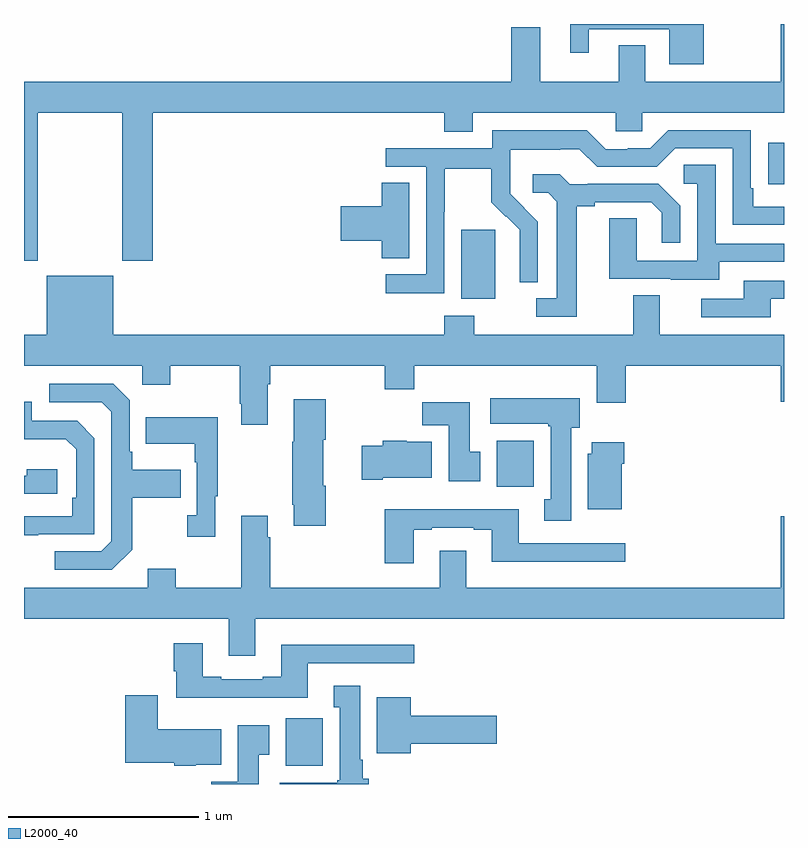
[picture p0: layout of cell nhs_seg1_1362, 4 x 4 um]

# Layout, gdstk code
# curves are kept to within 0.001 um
import gdstk
lib = gdstk.Library(unit=1e-6, precision=1e-09)
def R(c, l, rs):  # rectangles x0, y0, x1, y1
    for r in rs: c.add(gdstk.rectangle(r[:2], r[2:], *l))
def P(c, l, *ps):  # polygons
    for p in ps: c.add(gdstk.Polygon(p, *l))
L2000_40 = (2000, 40)

nhs_seg1_1362 = lib.new_cell('nhs_seg1_1362')
R(nhs_seg1_1362, L2000_40, [(186.377,548.294,186.573,548.545), (187.487,549.764,187.684,550.006), (187.301,550.754,187.48,551.115), (188.917,551.356,189,551.575)])
P(nhs_seg1_1362, L2000_40, [(185.073,551.732),(185.518,551.732),(185.518,550.953),(185.678,550.953),(185.678,551.732),(187.211,551.732),(187.211,551.633),(187.363,551.633),(187.363,551.732),(188.115,551.732),(188.115,551.634),(188.253,551.634),(188.253,551.732),(189,551.732),(189,552.199),(188.984,552.199),(188.984,551.896),(188.269,551.896),(188.269,552.086),(188.129,552.086),(188.129,551.896),(187.717,551.896),(187.717,552.181),(187.565,552.181),(187.565,551.896),(185,551.896),(185,550.953),(185.073,550.953)],
  [(188.578,552.199),(187.874,552.199),(187.874,552.048),(187.972,552.048),(187.972,552.171),(188.396,552.171),(188.396,551.987),(188.578,551.987)],
  [(187.212,551.212),(187.215,551.212),(187.215,551.436),(187.459,551.436),(187.459,551.261),(187.536,551.184),(187.539,551.187),(187.61,551.117),(187.61,550.994),(187.608,550.994),(187.608,550.84),(187.704,550.84),(187.704,551.158),(187.558,551.306),(187.558,551.403),(187.56,551.403),(187.56,551.537),(187.823,551.537),(187.823,551.541),(187.923,551.541),(188.016,551.448),(188.331,551.448),(188.427,551.544),(188.73,551.544),(188.73,551.142),(189,551.142),(189,551.238),(188.839,551.238),(188.839,551.335),(188.826,551.335),(188.826,551.64),(188.391,551.64),(188.295,551.544),(188.177,551.544),(188.177,551.541),(188.061,551.541),(187.961,551.641),(187.464,551.641),(187.464,551.544),(186.903,551.544),(186.903,551.448),(187.116,551.448),(187.116,550.881),(186.903,550.881),(186.903,550.783),(187.212,550.783)],
  [(188.659,550.947),(189,550.947),(189,551.043),(188.64,551.043),(188.64,551.459),(188.472,551.459),(188.472,551.358),(188.544,551.358),(188.544,550.953),(188.226,550.953),(188.226,551.177),(188.081,551.177),(188.081,550.857),(188.405,550.857),(188.405,550.853),(188.659,550.853)],
  [(187.909,551.24),(188.005,551.24),(188.005,551.262),(188.3,551.262),(188.357,551.205),(188.357,551.049),(188.454,551.049),(188.454,551.242),(188.338,551.358),(187.966,551.358),(187.966,551.355),(187.872,551.355),(187.82,551.407),(187.677,551.407),(187.677,551.31),(187.758,551.31),(187.805,551.263),(187.805,550.755),(187.695,550.755),(187.695,550.659),(187.909,550.659)],
  [(187.027,551.363),(186.884,551.363),(186.884,551.24),(186.666,551.24),(186.666,551.057),(186.884,551.057),(186.884,550.966),(187.027,550.966)],
  [(187.371,550.663),(187.211,550.663),(187.211,550.564),(185.47,550.564),(185.47,550.873),(185.12,550.873),(185.12,550.564),(185,550.564),(185,550.4),(185.622,550.4),(185.622,550.301),(185.769,550.301),(185.769,550.4),(186.136,550.4),(186.136,550.201),(186.143,550.201),(186.143,550.089),(186.283,550.089),(186.283,550.304),(186.296,550.304),(186.296,550.4),(186.899,550.4),(186.899,550.276),(187.055,550.276),(187.055,550.4),(188.015,550.4),(188.015,550.206),(188.168,550.206),(188.168,550.4),(188.984,550.4),(188.984,550.212),(189,550.212),(189,550.564),(188.347,550.564),(188.347,550.772),(188.207,550.772),(188.207,550.564),(187.371,550.564)],
  [(188.929,550.752),(189,550.752),(189,550.848),(188.789,550.848),(188.789,550.752),(188.565,550.752),(188.565,550.656),(188.929,550.656)],
  [(185.569,549.433),(185.569,549.706),(185.825,549.706),(185.825,549.853),(185.569,549.853),(185.569,549.949),(185.556,549.949),(185.556,550.218),(185.469,550.305),(185.133,550.305),(185.133,550.209),(185.409,550.209),(185.46,550.158),(185.46,549.477),(185.406,549.423),(185.163,549.423),(185.163,549.327),(185.463,549.327)],
  [(187.879,550.074),(187.924,550.074),(187.924,550.228),(187.455,550.228),(187.455,550.094),(187.759,550.094),(187.759,550.081),(187.772,550.081),(187.772,549.698),(187.739,549.698),(187.739,549.585),(187.879,549.585)],
  [(186.587,549.77),(186.574,549.77),(186.574,550.012),(186.587,550.012),(186.587,550.225),(186.419,550.225),(186.419,550.001),(186.412,550.001),(186.412,549.67),(186.419,549.67),(186.419,549.558),(186.587,549.558)],
  [(185.075,549.513),(185.37,549.513),(185.37,550.02),(185.28,550.11),(185.04,550.11),(185.04,550.212),(185,550.212),(185,550.013),(185.221,550.013),(185.274,549.96),(185.274,549.706),(185.254,549.706),(185.254,549.609),(185,549.609),(185,549.508),(185.075,549.508)],
  [(187.402,549.948),(187.345,549.948),(187.345,550.207),(187.096,550.207),(187.096,550.088),(187.235,550.088),(187.235,549.792),(187.402,549.792)],
  [(186.007,549.713),(186.019,549.713),(186.019,550.129),(185.641,550.129),(185.641,549.989),(185.898,549.989),(185.898,549.893),(185.91,549.893),(185.91,549.614),(185.859,549.614),(185.859,549.501),(186.007,549.501)],
  [(186.889,549.812),(187.147,549.812),(187.147,550),(187.014,550),(187.014,550.006),(186.889,550.006),(186.889,549.978),(186.777,549.978),(186.777,549.8),(186.889,549.8)],
  [(188.146,549.884),(188.159,549.884),(188.159,549.997),(187.988,549.997),(187.988,549.936),(187.967,549.936),(187.967,549.644),(188.146,549.644)],
  [(185.176,549.856),(185.015,549.856),(185.015,549.822),(185,549.822),(185,549.726),(185.176,549.726)],
  [(187.051,549.537),(187.147,549.537),(187.147,549.549),(187.367,549.549),(187.367,549.537),(187.463,549.537),(187.463,549.368),(188.164,549.368),(188.164,549.465),(187.603,549.465),(187.603,549.646),(186.899,549.646),(186.899,549.36),(187.051,549.36)],
  [(186.217,549.068),(189,549.068),(189,549.607),(188.984,549.607),(188.984,549.232),(187.327,549.232),(187.327,549.427),(187.187,549.427),(187.187,549.232),(186.296,549.232),(186.296,549.497),(186.283,549.497),(186.283,549.61),(186.143,549.61),(186.143,549.232),(185.799,549.232),(185.799,549.331),(185.651,549.331),(185.651,549.232),(185,549.232),(185,549.068),(186.077,549.068),(186.077,548.874),(186.217,548.874)],
  [(186.493,548.835),(187.054,548.835),(187.054,548.932),(186.353,548.932),(186.353,548.764),(186.257,548.764),(186.257,548.751),(186.037,548.751),(186.037,548.764),(185.941,548.764),(185.941,548.941),(185.789,548.941),(185.789,548.793),(185.801,548.793),(185.801,548.654),(186.493,548.654)],
  [(186.814,548.226),(186.784,548.226),(186.784,548.326),(186.769,548.326),(186.769,548.716),(186.629,548.716),(186.629,548.603),(186.662,548.603),(186.662,548.22),(186.649,548.22),(186.649,548.206),(186.345,548.206),(186.345,548.199),(186.814,548.199)],
  [(185.904,548.3),(186.037,548.3),(186.037,548.488),(185.704,548.488),(185.704,548.665),(185.534,548.665),(185.534,548.312),(185.79,548.312),(185.79,548.294),(185.904,548.294)],
  [(187.036,548.411),(187.489,548.411),(187.489,548.558),(187.036,548.558),(187.036,548.656),(186.857,548.656),(186.857,548.36),(187.036,548.36)],
  [(186.235,548.353),(186.292,548.353),(186.292,548.509),(186.125,548.509),(186.125,548.212),(185.986,548.212),(185.986,548.199),(186.235,548.199)])

lib.write_gds('nhs_seg1_1362.gds')
